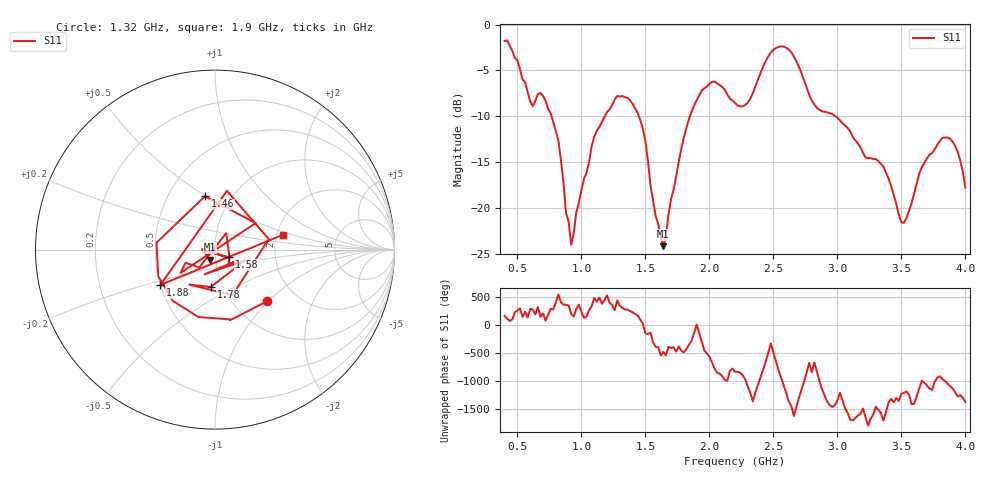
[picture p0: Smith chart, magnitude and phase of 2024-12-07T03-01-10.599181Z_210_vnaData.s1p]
!Created with skrf (http://scikit-rf.org).
# Hz S RI R 50.0
!freq ReS11 ImS11
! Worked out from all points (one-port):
!   181 points, 400 MHz to 4 GHz, reference 50 ohm
!   lowest |S11| = -24.2 dB at 1.64 GHz (marker M1), VSWR 1.13, Z = 47 - j5.22 ohm
!   |S11| at or under -10 dB: 766.7 MHz to 1.183 GHz (416.8 MHz wide, 42.7 % of centre); 1.449 GHz to 1.848 GHz (398.9 MHz wide, 24.2 % of centre); 2.983 GHz to end of sweep
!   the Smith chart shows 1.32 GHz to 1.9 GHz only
!   S11 on the Smith chart (normalised r, x): 1.32 GHz: 1.41, -0.98; 1.46 GHz: 0.76, +0.49; 1.58 GHz: 1.17, -0.10; 1.78 GHz: 0.88, -0.38; 1.88 GHz: 0.50, -0.23; 1.9 GHz: 2.16, +0.41
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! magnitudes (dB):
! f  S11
! 400 MHz  -1.8
! 620 MHz  -8.9
! 720 MHz  -8.3
! 820 MHz  -12.6
! 860 MHz  -17.2
! 920 MHz  -24.0
! 1.1 GHz  -12.2
! 1.3 GHz  -7.8
! 1.32 GHz  -7.8
! 1.46 GHz  -10.4
! 1.58 GHz  -20.8
! 1.64 GHz  -24.2
! 1.76 GHz  -15.0
! 1.78 GHz  -13.6
! 1.88 GHz  -8.8
! 1.9 GHz  -8.3
! 2.04 GHz  -6.2
! 2.2 GHz  -8.5
! 2.5 GHz  -2.8
! 2.66 GHz  -3.5
! 2.84 GHz  -9.1
! 3.1 GHz  -11.7
! 3.36 GHz  -15.5
! 3.5 GHz  -21.6
! 3.56 GHz  -20.3
! 3.82 GHz  -12.4
! 3.92 GHz  -13.2
! 4 GHz  -17.8
